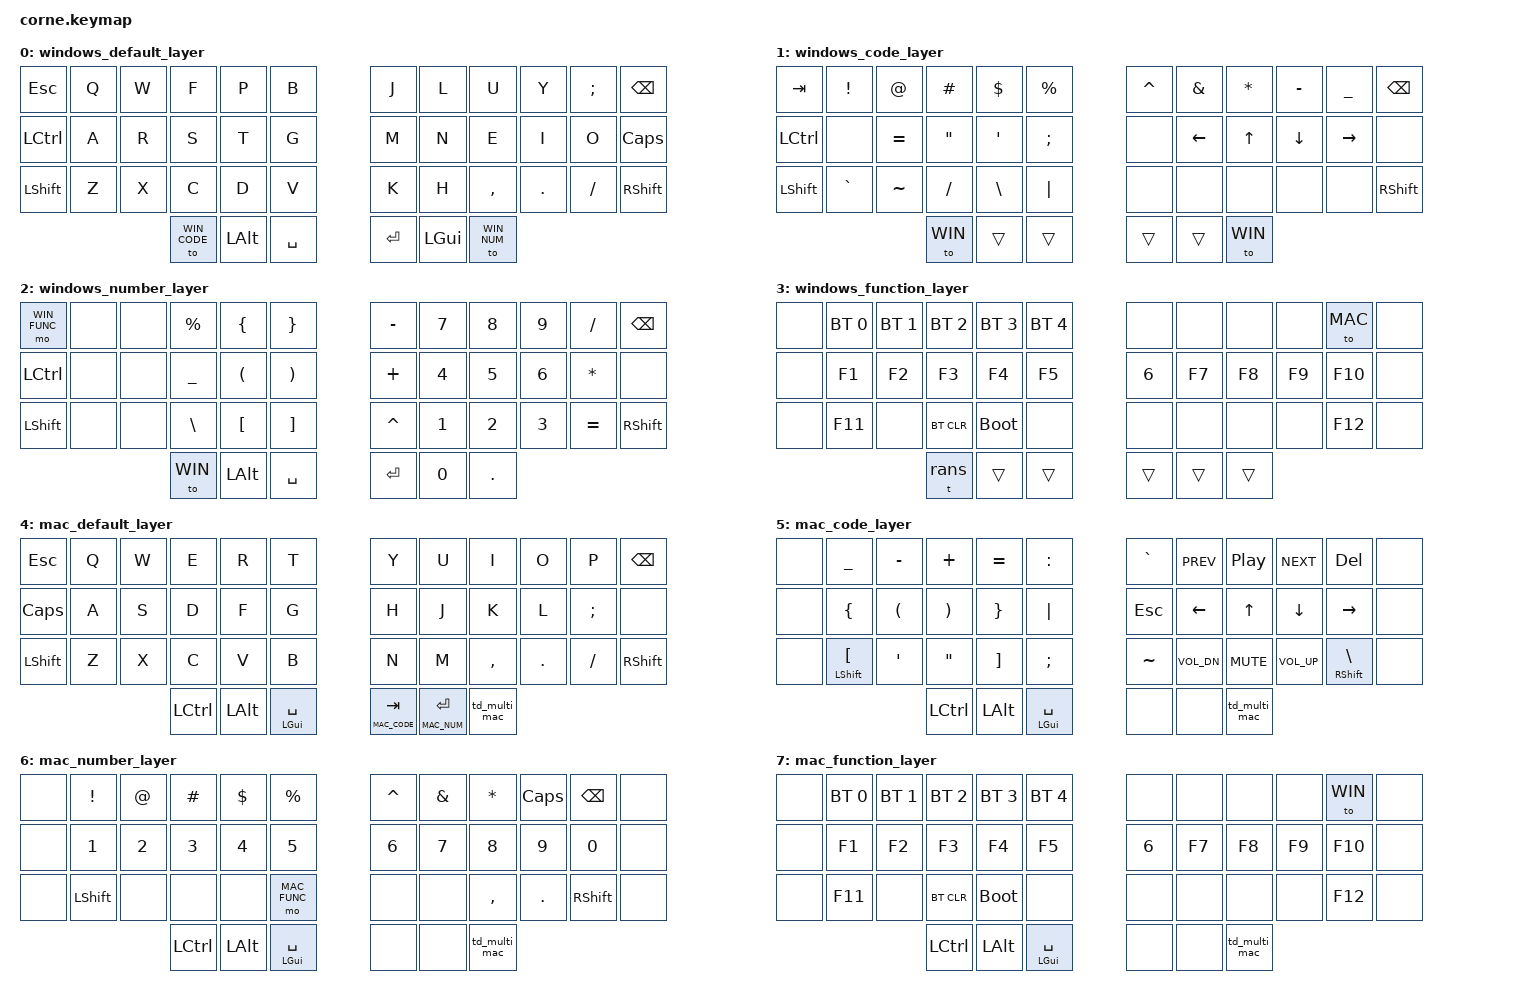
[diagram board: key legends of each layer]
#include <behaviors.dtsi>
#include <dt-bindings/zmk/keys.h>
#include <dt-bindings/zmk/bt.h>

// Layers
#define MAC 4
#define MAC_CODE 5
#define MAC_NUM 6
#define MAC_FUNC 7
#define WIN 0
#define WIN_CODE 1
#define WIN_NUM 2
#define WIN_FUNC 3

// Behavior Overrides
&lt {
    tapping-term-ms = <200>;
    flavor = "hold-preferred";
};

/ {
    //combos {
      //  compatible = "zmk,combos";

        //combo_tab {
        //  timeout-ms = <20>;
        //  key-positions = <1 2>;
        //  bindings = <&kp TAB>;
        //};

      //  combo_enter {
        //    timeout-ms = <20>;
          //  key-positions = <13 14>;
            //bindings = <&kp ENTER>;
        //};
    //};

    macros {
        spotlight: spotlight {
            label = "spotlight";
            compatible = "zmk,behavior-macro";
            #binding-cells = <0>;
            bindings = <&macro_press &kp LGUI>, <&macro_tap &kp SPACE>, <&macro_release &kp LGUI>;
        };

        // Emoji
        mac_emoji: mac_emoji {
            label = "mac_emoji";
            compatible = "zmk,behavior-macro";
            #binding-cells = <0>;
            bindings = <&macro_press &kp LGUI>, <&macro_press &kp LCTRL>, <&macro_tap &kp SPACE>, <&macro_release &kp LCTRL>, <&macro_release &kp LGUI>;
        };

        win_emoji: win_emoji {
            label = "win_emoji";
            compatible = "zmk,behavior-macro";
            #binding-cells = <0>;
            bindings = <&macro_press &kp LGUI>, <&macro_tap &kp DOT>, <&macro_release &kp LGUI>;
        };
    };

    behaviors {
        td_multi_mac: tap_dance_multi_mac {
            compatible = "zmk,behavior-tap-dance";
            label = "TAP_DANCE_MULTI_MAC";
            #binding-cells = <0>;
            tapping-term-ms = <200>;
            bindings = <&kp ESC>, <&spotlight>, <&mac_emoji>;
        };

        td_multi_windows: tap_dance_multi_windows {
            compatible = "zmk,behavior-tap-dance";
            label = "TAP_DANCE_MULTI_WINDOWS";
            #binding-cells = <0>;
            tapping-term-ms = <200>;
            bindings = <&kp ESC>, <&kp LGUI>, <&win_emoji>;
        };

        bm: bottom_row_mods {
            compatible = "zmk,behavior-hold-tap";
            label = "BOTTOM_ROW_MODS";
            #binding-cells = <2>;
            tapping-term-ms = <135>;
            quick-tap-ms = <0>;
            flavor = "tap-preferred";
            bindings = <&kp>, <&kp>;
        };

        cm: code_row_mods {
            compatible = "zmk,behavior-hold-tap";
            label = "CODE_ROW_MODS";
            #binding-cells = <2>;
            tapping-term-ms = <200>;
            quick-tap-ms = <0>;
            flavor = "tap-preferred";
            bindings = <&kp>, <&kp>;
            retro-tap;
        };

        sm: space_mod {
            compatible = "zmk,behavior-hold-tap";
            label = "SPACE_MOD";
            #binding-cells = <2>;
            flavor = "balanced";
            tapping-term-ms = <200>;
            quick-tap-ms = <125>;
            bindings = <&kp>, <&kp>;
        };
    };

    keymap {
        compatible = "zmk,keymap";

        windows_default_layer {
            bindings = <
                &kp ESC    &kp Q  &kp W  &kp F  &kp P  &kp B    &kp J  &kp L  &kp U      &kp Y    &kp SEMI  &kp BSPC
                &kp LCTRL  &kp A  &kp R  &kp S  &kp T  &kp G    &kp M  &kp N  &kp E      &kp I    &kp O     &kp CAPS
                &kp LSHFT  &kp Z  &kp X  &kp C  &kp D  &kp V    &kp K  &kp H  &kp COMMA  &kp DOT  &kp FSLH  &kp RSHFT
                           &to WIN_CODE  &kp LALT  &kp SPACE    &kp ENTER  &kp LGUI  &to WIN_NUM
            >;
        };

        windows_code_layer {
            bindings = <
                &kp TAB    &kp EXCL   &kp AT     &kp HASH  &kp DLLR  &kp PRCNT    &kp CARET  &kp AMPS  &kp ASTERISK  &kp MINUS  &kp UNDER  &kp BSPC
                &kp LCTRL  &none      &kp EQUAL  &kp DQT   &kp APOS  &kp SEMI     &none      &kp LEFT  &kp UP        &kp DOWN   &kp RIGHT  &none
                &kp LSHFT  &kp GRAVE  &kp TILDE  &kp FSLH  &kp BSLH  &kp PIPE     &none      &none     &none         &none      &none      &kp RSHFT
                                                       &to WIN  &trans  &trans    &trans  &trans  &to WIN
            >;
        };

        windows_number_layer {
            bindings = <
                &mo WIN_FUNC  &none  &none  &kp PRCNT  &kp LBRC  &kp RBRC    &kp MINUS  &kp N7  &kp N8  &kp N9  &kp FSLH      &kp BSPC
                &kp LCTRL     &none  &none  &kp UNDER  &kp LPAR  &kp RPAR    &kp PLUS   &kp N4  &kp N5  &kp N6  &kp ASTERISK  &none
                &kp LSHIFT    &none  &none  &kp BSLH   &kp LBKT  &kp RBKT    &kp CARET  &kp N1  &kp N2  &kp N3  &kp EQUAL     &kp RSHFT
                                             &to WIN  &kp LALT  &kp SPACE    &kp ENTER  &kp N0  &kp DOT
            >;
        };

        windows_function_layer {
            bindings = <
                &none  &bt BT_SEL 0  &bt BT_SEL 1  &bt BT_SEL 2  &bt BT_SEL 3  &bt BT_SEL 4    &none  &none   &none   &none   &to MAC  &none
                &none  &kp F1        &kp F2        &kp F3        &kp F4        &kp F5          &kp 6  &kp F7  &kp F8  &kp F9  &kp F10  &none
                &none  &kp F11       &none         &bt BT_CLR    &bootloader   &none           &none  &none   &none   &none   &kp F12  &none
                                                   &t  rans  &trans  &trans    &trans  &trans  &trans
            >;
        };

        mac_default_layer {
            bindings = <
                &kp ESC    &kp Q  &kp W  &kp E  &kp R  &kp T    &kp Y   &kp U   &kp I      &kp O    &kp P     &kp BSPC
                &kp CAPS   &kp A  &kp S  &kp D  &kp F  &kp G    &kp H   &kp J   &kp K      &kp L    &kp SEMI  &none
                &kp LSHFT  &kp Z  &kp X  &kp C  &kp V  &kp B    &kp N   &kp M   &kp COMMA  &kp DOT  &kp FSLH  &kp RSHFT
                        &kp LCTRL   &kp LALT  &sm LGUI SPACE    &lt MAC_CODE TAB  &lt MAC_NUM ENTER  &td_multi_mac
            >;
        };

        mac_code_layer {
            bindings = <
                &none  &kp UNDER       &kp MINUS  &kp PLUS  &kp EQUAL  &kp COLON  &kp GRAVE  &kp C_PREV    &kp C_PP    &kp C_NEXT    &kp DEL         &none
                &none  &kp LBRC        &kp LPAR   &kp RPAR  &kp RBRC   &kp PIPE   &kp ESC    &kp LEFT      &kp UP      &kp DOWN      &kp RIGHT       &none
                &none  &cm LSHFT LBKT  &kp APOS   &kp DQT   &kp RBKT   &kp SEMI   &kp TILDE  &kp C_VOL_DN  &kp C_MUTE  &kp C_VOL_UP  &cm RSHFT BSLH  &none
                                &kp LCTRL      &kp LALT       &sm LGUI SPACE      &none          &none             &td_multi_mac
            >;
        };

        mac_number_layer {
            bindings = <
                &none      &kp EXCL       &kp AT      &kp HASH       &kp DLLR      &kp PRCNT           &kp CARET      &kp AMPS      &kp ASTERISK       &kp CAPS      &kp BSPC       &none
                &none      &kp N1         &kp N2      &kp N3         &kp N4        &kp N5              &kp N6         &kp N7        &kp N8             &kp N9        &kp N0         &none
                &none      &kp LSHFT      &none       &none          &none         &mo MAC_FUNC        &none          &none         &kp COMMA          &kp DOT       &kp RSHFT      &none
                                                      &kp LCTRL      &kp LALT      &sm LGUI SPACE      &none          &none         &td_multi_mac
            >;
        };

        mac_function_layer {
            bindings =<
                &none      &bt BT_SEL 0    &bt BT_SEL 1      &bt BT_SEL 2      &bt BT_SEL 3      &bt BT_SEL 4        &none      &none       &none              &none       &to WIN      &none
                &none      &kp F1          &kp F2            &kp F3            &kp F4            &kp F5              &kp 6      &kp F7      &kp F8             &kp F9      &kp F10      &none
                &none      &kp F11         &none             &bt BT_CLR        &bootloader       &none               &none      &none       &none              &none       &kp F12      &none
                                                             &kp LCTRL         &kp LALT          &sm LGUI SPACE      &none      &none       &td_multi_mac
            >;
        };
    };
};
